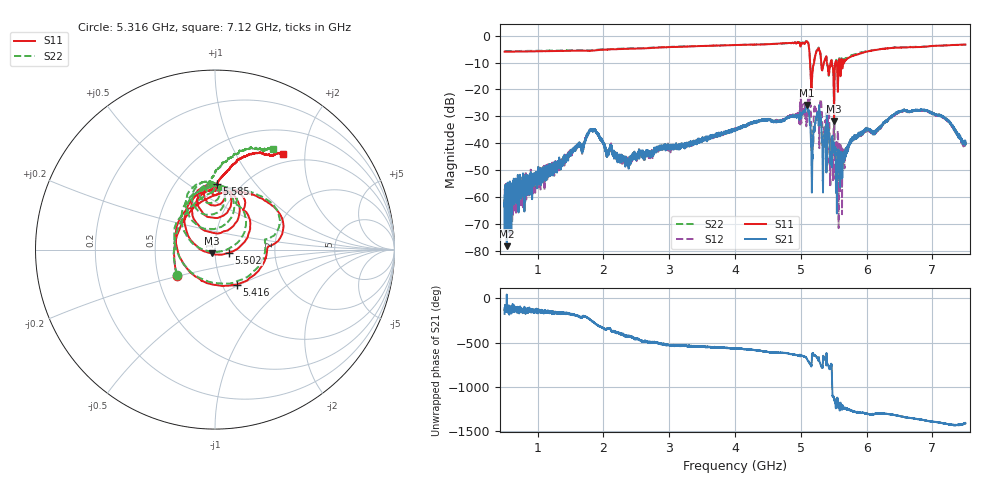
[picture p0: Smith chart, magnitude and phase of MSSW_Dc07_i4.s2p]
!Keysight Technologies,M9374A,MY55442783,A.12.55.05
!Date: Thursday, May 20, 2021 15:56:31
!Correction: S11(Full 2 Port(1,2))
!S21(Full 2 Port(1,2))
!S12(Full 2 Port(1,2))
!S22(Full 2 Port(1,2))
!S2P File: Measurements: S11, S21, S12, S22:
# Hz S  RI  R 50
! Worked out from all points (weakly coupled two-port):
!   7001 points, 500 MHz to 7.5 GHz, reference 50 ohm
!   highest |S21| = -25.71 dB at 5.091 GHz (marker M1); lowest = -78.1 dB at 533 MHz (marker M2)
!   lowest |S11| = -31.7 dB at 5.505 GHz (marker M3), VSWR 1.05, Z = 48.5 - j2.05 ohm
!   |S11| at or under -10 dB: 5.142 GHz to 5.202 GHz (59.37 MHz wide, 1.15 % of centre); 5.396 GHz to 5.452 GHz (56.6 MHz wide, 1.04 % of centre); 5.472 GHz to 5.524 GHz (51.55 MHz wide, 0.937 % of centre) (the widest 3 of 8)
!   |S22| runs from -37.4 to -1.8 dB; largest |S21 - S12| = 0.088
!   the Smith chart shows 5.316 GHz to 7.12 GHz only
!   S11 on the Smith chart (normalised r, x): 5.316 GHz: 0.63, -0.20; 5.416 GHz: 1.17, -0.48; 5.502 GHz: 1.17, -0.04; 5.585 GHz: 0.78, +0.65; 7.12 GHz: 0.86, +1.59
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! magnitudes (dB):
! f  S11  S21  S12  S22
! 500 MHz  -6.0  -62.1  -63.6  -5.8
! 533 MHz  -6.0  -78.1  -56.8  -5.8
! 1.667 GHz  -5.6  -42.2  -42.4  -5.4
! 1.835 GHz  -5.6  -35.5  -35.5  -5.5
! 2.362 GHz  -4.9  -47.8  -45.8  -4.8
! 2.834 GHz  -4.5  -42.3  -42.8  -4.3
! 4 GHz  -3.5  -34.9  -35.0  -3.5
! 5.091 GHz  -2.1  -25.7  -29.5  -1.9
! 5.126 GHz  -4.8  -29.1  -22.5  -4.7
! 5.167 GHz  -17.1  -54.9  -42.7  -16.7
! 5.265 GHz  -5.0  -29.1  -30.5  -4.7
! 5.316 GHz  -11.9  -35.2  -27.3  -11.9
! 5.355 GHz  -9.7  -38.9  -35.0  -9.5
! 5.39 GHz  -8.1  -42.0  -32.7  -8.4
! 5.416 GHz  -12.8  -33.5  -27.9  -12.9
! 5.502 GHz  -21.8  -39.5  -32.2  -22.3
! 5.505 GHz  -31.7  -40.7  -31.5  -37.4
! 5.585 GHz  -8.8  -46.4  -40.3  -8.4
! 5.788 GHz  -7.5  -38.5  -37.8  -7.2
! 6.334 GHz  -4.7  -30.8  -31.0  -4.7
! 7.12 GHz  -3.7  -29.4  -29.8  -3.8
! 7.5 GHz  -3.3  -40.3  -40.0  -3.4
